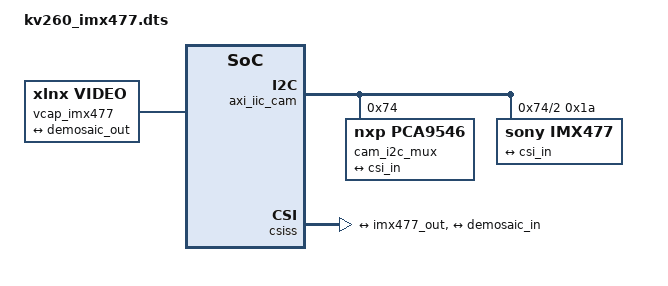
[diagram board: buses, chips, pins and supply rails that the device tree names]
/dts-v1/;
/plugin/;

/* KV260 IMX477 raw-CSI capture overlay
 * PL:  camctl bitstream (kv260_imx477.bit.bin)
 * Pipeline:  imx477@1a -> csiss@80000000 -> demosaic@80040000 (Bayer->RGB, fixed
 *            8-bit/channel output per hardware -- see xilinx-demosaic below)
 *            -> vcap (/dev/videoN)   (DMA via v_frmbuf_wr@80010000, bgr888)
 * I2C to J9 is via axi_iic@80030000 -> carrier pca9546@74 -> channel 2 ("RPICAM")
 * demosaic is required: xilinx-csi2rxss only ever reports Bayer-tagged mbus codes for
 * RAW10 data, xilinx_frmbuf's format table has no Bayer entry at all -- confirmed on
 * hardware (EXPERIMENT_LOG.md 2026-09-11 14:43) that skipping it makes
 * dmaengine_prep_interleaved_dma fail every time ("Invalid dma template or missing
 * dma video fmt config"), matching every AMD reference design (PYNQ's own `base`
 * included) which always demosaics before its VDMA/frame writer.
 */

/ {
	fragment@0 {
		target = <&fpga_full>;
		__overlay__ {
			#address-cells = <2>;
			#size-cells = <2>;
			firmware-name = "kv260_imx477.bit.bin";
			resets = <&zynqmp_reset 0x74 &zynqmp_reset 0x75 &zynqmp_reset 0x76 &zynqmp_reset 0x77>;
		};
	};

	fragment@1 {
		target = <&amba>;
		__overlay__ {
			/* ZynqMP AFI (AXI FIFO Interface) config at each PS<->PL AXI boundary port,
			 * copied verbatim from the working kv260-smartcam overlay. Its absence is
			 * what turned axi_iic's first real register access into an async SError
			 * (confirmed on hardware in v1e/v1f -- see EXPERIMENT_LOG.md 2026-09-11). */
			afi0 {
				compatible = "xlnx,afi-fpga";
				config-afi = <0x00 0x00 0x01 0x00 0x02 0x00 0x03 0x00 0x04 0x00 0x05 0x00 0x06 0x00 0x07 0x00 0x08 0x00 0x09 0x00 0x0a 0x00 0x0b 0x00 0x0c 0x00 0x0d 0x00 0x0e 0x00 0x0f 0x00>;
			};

			/* PL fabric clocks (pl_clk0/1/2) as fixed-clocks */
			misc_clk_0: misc_clk_0 { #clock-cells = <0>; compatible = "fixed-clock"; clock-frequency = <99999000>;  };
			misc_clk_1: misc_clk_1 { #clock-cells = <0>; compatible = "fixed-clock"; clock-frequency = <200000000>; };
			misc_clk_2: misc_clk_2 { #clock-cells = <0>; compatible = "fixed-clock"; clock-frequency = <200000000>; };

			/* The Arducam UC-517 is self-clocked (on-board 24 MHz osc).
			 * The imx477 driver still insists on a 24 MHz 'xclk' whose rate it verifies,
			 * so give it a fixed-clock that is not physically wired anywhere. */
			imx477_xclk: imx477_xclk { #clock-cells = <0>; compatible = "fixed-clock"; clock-frequency = <24000000>; };
		};
	};

	fragment@2 {
		target = <&amba>;
		__overlay__ {

			axi_iic_cam: i2c@80030000 {
				compatible = "xlnx,axi-iic-2.1", "xlnx,xps-iic-2.00.a";
				reg = <0x0 0x80030000 0x0 0x10000>;
				interrupt-parent = <&gic>;
				interrupts = <0 91 4>;
				interrupt-names = "iic2intc_irpt";
				clocks = <&misc_clk_0>;
				clock-names = "s_axi_aclk";
				#address-cells = <1>;
				#size-cells = <0>;

				cam_i2c_mux: i2c-mux@74 {
					compatible = "nxp,pca9546";
					reg = <0x74>;
					#address-cells = <1>;
					#size-cells = <0>;

					i2c@0 { reg = <0>; #address-cells = <1>; #size-cells = <0>; };
					i2c@1 { reg = <1>; #address-cells = <1>; #size-cells = <0>; };

					cam_i2c: i2c@2 {
						reg = <2>;
						#address-cells = <1>;
						#size-cells = <0>;
						label = "RPICAM";

						imx477: sensor@1a {
							compatible = "sony,imx477";
							reg = <0x1a>;
							clocks = <&imx477_xclk>;
							clock-names = "xclk";
							rotation = <0>;
							orientation = <2>;

							port {
								imx477_out: endpoint {
									remote-endpoint = <&csi_in>;
									clock-lanes = <0>;
									data-lanes = <1 2>;
									link-frequencies = /bits/ 64 <450000000>;
								};
							};
						};
					};
				};
			};

			rst_gpio: gpio@80020000 {
				compatible = "xlnx,axi-gpio-2.0", "xlnx,xps-gpio-1.00.a";
				reg = <0x0 0x80020000 0x0 0x10000>;
				#gpio-cells = <2>;
				gpio-controller;
				xlnx,all-outputs = <1>;
				xlnx,gpio-width = <1>;
				xlnx,is-dual = <0>;
				clocks = <&misc_clk_0>;
			};

			rst_gpio2: gpio@80050000 {
				compatible = "xlnx,axi-gpio-2.0", "xlnx,xps-gpio-1.00.a";
				reg = <0x0 0x80050000 0x0 0x10000>;
				#gpio-cells = <2>;
				gpio-controller;
				xlnx,all-outputs = <1>;
				xlnx,gpio-width = <1>;
				xlnx,is-dual = <0>;
				clocks = <&misc_clk_0>;
			};

			csiss: csi2rxss@80000000 {
				compatible = "xlnx,mipi-csi2-rx-subsystem-5.0";
				reg = <0x0 0x80000000 0x0 0x10000>;
				interrupt-parent = <&gic>;
				interrupts = <0 89 4>;
				clocks = <&misc_clk_0>, <&misc_clk_2>;
				clock-names = "lite_aclk", "video_aclk";
				xlnx,csi-pxl-format = <0x2b>;      /* MIPI RAW10 */
				xlnx,vfb;
				xlnx,ppc = <1>;
				xlnx,axis-tdata-width = <32>;

				ports {
					#address-cells = <1>;
					#size-cells = <0>;

					port@0 {
						reg = <0>;
						xlnx,video-format = <12>;   /* XVIP_VF_MONO_SENSOR */
						xlnx,video-width = <10>;
						/* No xlnx,cfa-pattern: MONO_SENSOR+width10 with no cfa-pattern
						 * maps to V4L2_PIX_FMT_XY10 (xilinx-vip.c), matching v_frmbuf_wr's
						 * "y10" format entry (xilinx_frmbuf.c) exactly. With cfa-pattern
						 * set it maps to V4L2_PIX_FMT_SRGGB10 instead, which v_frmbuf_wr's
						 * format table has no entry for at all -- confirmed on hardware
						 * to fail dmaengine_prep_interleaved_dma ("Invalid dma template
						 * or missing dma video fmt config"). Bayer reassembly moves to
						 * software on the captured raw bytes instead. */
						csi_in: endpoint {
							data-lanes = <1 2>;
							remote-endpoint = <&imx477_out>;
						};
					};

					port@1 {
						reg = <1>;
						xlnx,video-format = <12>;
						xlnx,video-width = <10>;
						csi_out: endpoint {
							remote-endpoint = <&demosaic_in>;
						};
					};
				};
			};

			demosaic: v_demosaic@80040000 {
				compatible = "xlnx,v-demosaic";
				reg = <0x0 0x80040000 0x0 0x10000>;
				/* xvip_init_resources() (xilinx-vip.c, shared by every xilinx-vip-family
				 * driver incl. demosaic) does devm_clk_get(dev, NULL) -- an unnamed
				 * single clock -- unconditionally. Missing it is why the first load
				 * failed clean with "probe ... failed with error -5" (EIO). */
				clocks = <&misc_clk_2>;
				reset-gpios = <&rst_gpio2 0 1>;   /* GPIO_ACTIVE_LOW */
				xlnx,max-width = <4096>;
				xlnx,max-height = <4096>;

				ports {
					#address-cells = <1>;
					#size-cells = <0>;

					port@0 {
						reg = <0>;
						demosaic_in: endpoint {
							remote-endpoint = <&csi_out>;
						};
					};

					port@1 {
						reg = <1>;
						demosaic_out: endpoint {
							remote-endpoint = <&vcap_in>;
						};
					};
				};
			};

			fb_wr: v_frmbuf_wr@80010000 {
				compatible = "xlnx,axi-frmbuf-wr-v2.2";
				reg = <0x0 0x80010000 0x0 0x10000>;
				interrupt-parent = <&gic>;
				interrupts = <0 90 4>;
				clocks = <&misc_clk_2>;
				clock-names = "ap_clk";
				reset-gpios = <&rst_gpio 0 1>;   /* GPIO_ACTIVE_LOW */
				#dma-cells = <1>;
				xlnx,dma-addr-width = <32>;
				xlnx,pixels-per-clock = <1>;
				xlnx,max-width = <4096>;
				xlnx,max-height = <4096>;
				xlnx,vid-formats = "bgr888";
			};

			vcap_imx477: vcap_imx477 {
				compatible = "xlnx,video";
				dmas = <&fb_wr 0>;
				dma-names = "port0";

				ports {
					#address-cells = <1>;
					#size-cells = <0>;
					port@0 {
						reg = <0>;
						direction = "input";
						vcap_in: endpoint {
							remote-endpoint = <&demosaic_out>;
						};
					};
				};
			};
		};
	};
};
